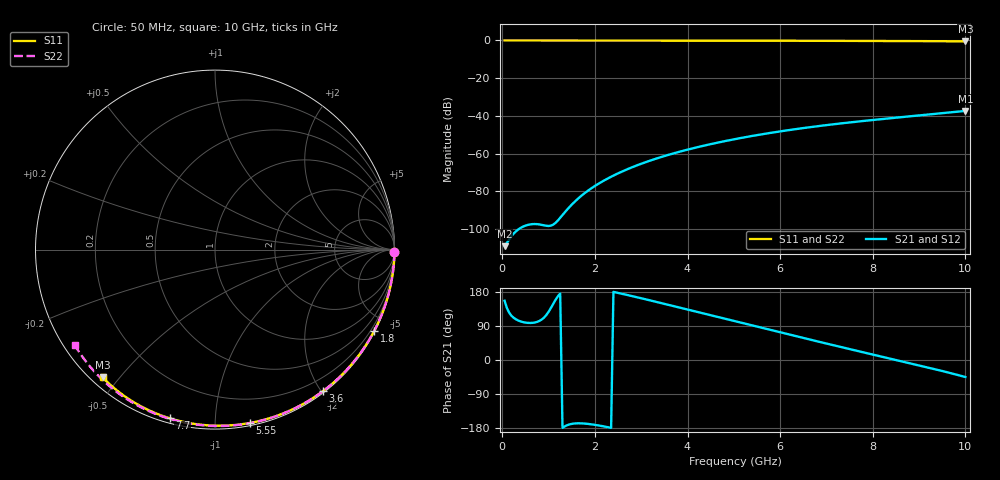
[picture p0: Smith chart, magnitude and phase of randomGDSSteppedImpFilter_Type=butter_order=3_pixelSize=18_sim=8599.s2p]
! freq	dB(S11)	phase(S11)	dB(S12)	phase(S12)
!  dB(S21)	phase(S21)	dB(S22)	phase(S22)
!S-par simulation data
#  GHz  S  DB  R 50
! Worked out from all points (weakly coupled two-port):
!   200 points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, 50 MHz to 10 GHz, reference 50 ohm
!   highest |S21| = -37.38 dB at 10 GHz (marker M1); lowest = -109.2 dB at 50 MHz (marker M2)
!   lowest |S11| = -0.5 dB at 10 GHz (marker M3), VSWR 37.37, Z = 1.61 - j22.6 ohm
!   |S11| at or under -10 dB: nowhere
!   |S22| runs from -0.5 to 0.0 dB; largest |S21 - S12| = 0
!   S11 on the Smith chart (normalised r, x): 50 MHz: open; 1.8 GHz: 0.04, -4.18; 3.6 GHz: 0.02, -2.02; 5.55 GHz: 0.02, -1.22; 7.7 GHz: 0.02, -0.77; 10 GHz: 0.03, -0.45
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0.05  -0.00 -0.8  -109.17 156.3  -109.17 156.3  -0.00 -0.9
0.45  -0.00 -6.8  -98.77 99.9  -98.77 99.9  -0.01 -7.6
0.9  -0.01 -13.6  -98.11 111.8  -98.11 111.8  -0.02 -15.2
1.75  -0.03 -26.2  -81.58 -167.5  -81.58 -167.5  -0.04 -29.2
1.8  -0.03 -26.9  -80.63 -168.0  -80.63 -168.0  -0.04 -30.0
1.85  -0.04 -27.7  -79.72 -168.6  -79.72 -168.6  -0.04 -30.8
2  -0.04 -29.9  -77.22 -171.1  -77.22 -171.1  -0.04 -33.3
2.15  -0.04 -32.0  -74.98 -174.2  -74.98 -174.2  -0.05 -35.7
2.35  -0.05 -34.9  -72.32 -179.0  -72.32 -179.0  -0.05 -38.9
2.55  -0.05 -37.8  -69.96 175.7  -69.96 175.7  -0.05 -42.1
2.95  -0.06 -43.5  -65.89 164.4  -65.89 164.4  -0.06 -48.5
3.4  -0.07 -49.9  -62.10 151.2  -62.10 151.2  -0.07 -55.5
3.6  -0.07 -52.7  -60.61 145.2  -60.61 145.2  -0.08 -58.6
4.3  -0.09 -62.2  -56.13 124.1  -56.13 124.1  -0.10 -69.1
5.05  -0.11 -72.2  -52.24 101.6  -52.24 101.6  -0.12 -80.1
5.55  -0.13 -78.7  -50.03 86.6  -50.03 86.6  -0.14 -87.2
6.1  -0.15 -85.6  -47.89 70.1  -47.89 70.1  -0.17 -94.9
6.7  -0.18 -93.0  -45.84 52.2  -45.84 52.2  -0.20 -103.0
7.7  -0.24 -105.1  -42.97 23.0  -42.97 23.0  -0.27 -116.3
8.35  -0.28 -112.7  -41.34 4.4  -41.34 4.4  -0.32 -124.7
9.2  -0.36 -122.4  -39.31 -20.0  -39.31 -20.0  -0.40 -135.6
10  -0.47 -131.3  -37.38 -45.0  -37.38 -45.0  -0.49 -145.8
